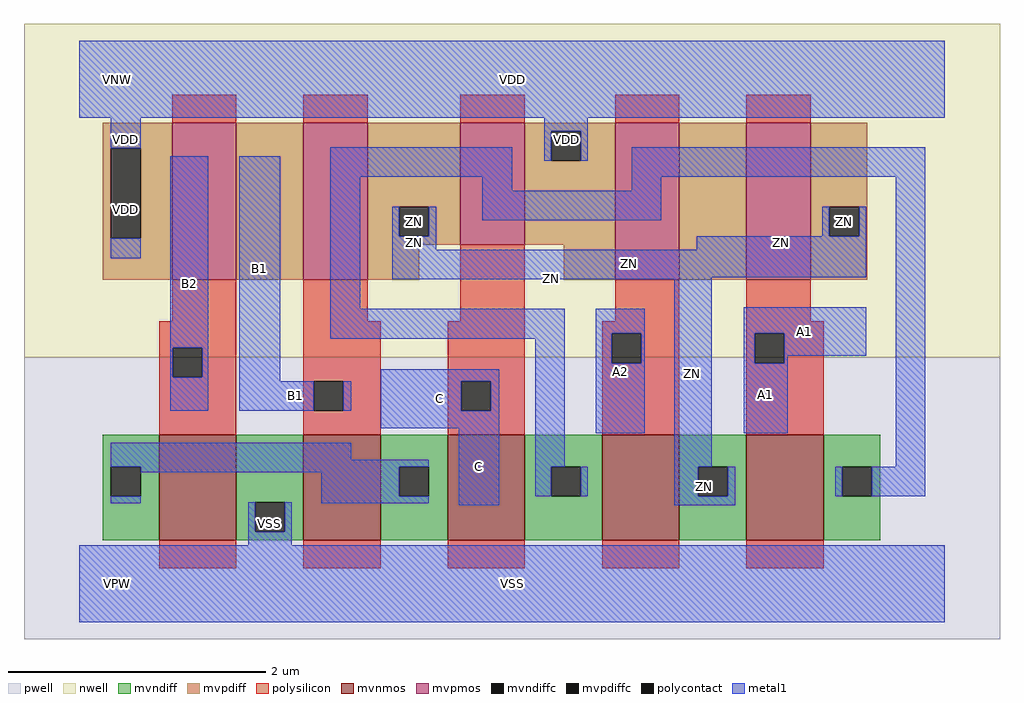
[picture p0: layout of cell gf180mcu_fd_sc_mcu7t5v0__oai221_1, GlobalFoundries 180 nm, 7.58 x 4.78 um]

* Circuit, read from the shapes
.subckt gf180mcu_fd_sc_mcu7t5v0__oai221_1 A1 A2 B1 B2 C ZN VDD VNW VPW VSS
XM1 VSS B2 n1 VPW nfet_06v0 w=0.82u l=0.6u
XM2 n1 B1 VSS VPW nfet_06v0 w=0.82u l=0.6u
XM3 n2 C n1 VPW nfet_06v0 w=0.82u l=0.6u
XM4 ZN A2 n2 VPW nfet_06v0 w=0.82u l=0.6u
XM5 n2 A1 ZN VPW nfet_06v0 w=0.82u l=0.6u
XM6 n3 B2 VDD VNW pfet_06v0 w=1.22u l=0.5u
XM7 ZN B1 n3 VNW pfet_06v0 w=1.22u l=0.5u
XM8 VDD C ZN VNW pfet_06v0 w=0.945u l=0.5u
XM9 n4 A2 VDD VNW pfet_06v0 w=1.22u l=0.5u
XM10 ZN A1 n4 VNW pfet_06v0 w=1.22u l=0.5u
.ends

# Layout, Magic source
magic
tech gf180mcuD
magscale 1 10
<< nwell >>
rect -86 352 1430 870
<< pwell >>
rect -86 -86 1430 352
<< mvnmos >>
rect 124 68 244 232
rect 348 68 468 232
rect 572 68 692 232
rect 812 68 932 232
rect 1036 68 1156 232
<< mvpmos >>
rect 144 472 244 716
rect 348 472 448 716
rect 592 527 692 716
rect 832 472 932 716
rect 1036 472 1136 716
<< mvndiff >>
rect 36 182 124 232
rect 36 136 49 182
rect 95 136 124 182
rect 36 68 124 136
rect 244 127 348 232
rect 244 81 273 127
rect 319 81 348 127
rect 244 68 348 81
rect 468 182 572 232
rect 468 136 497 182
rect 543 136 572 182
rect 468 68 572 136
rect 692 182 812 232
rect 692 136 733 182
rect 779 136 812 182
rect 692 68 812 136
rect 932 182 1036 232
rect 932 136 961 182
rect 1007 136 1036 182
rect 932 68 1036 136
rect 1156 182 1244 232
rect 1156 136 1185 182
rect 1231 136 1244 182
rect 1156 68 1244 136
<< mvpdiff >>
rect 36 677 144 716
rect 36 537 49 677
rect 95 537 144 677
rect 36 472 144 537
rect 244 472 348 716
rect 448 586 592 716
rect 448 540 497 586
rect 543 540 592 586
rect 448 527 592 540
rect 692 703 832 716
rect 692 657 733 703
rect 779 657 832 703
rect 692 527 832 657
rect 448 472 528 527
rect 752 472 832 527
rect 932 472 1036 716
rect 1136 586 1224 716
rect 1136 540 1165 586
rect 1211 540 1224 586
rect 1136 472 1224 540
<< mvndiffc >>
rect 49 136 95 182
rect 273 81 319 127
rect 497 136 543 182
rect 733 136 779 182
rect 961 136 1007 182
rect 1185 136 1231 182
<< mvpdiffc >>
rect 49 537 95 677
rect 497 540 543 586
rect 733 657 779 703
rect 1165 540 1211 586
<< polysilicon >>
rect 144 716 244 760
rect 348 716 448 760
rect 592 716 692 760
rect 832 716 932 760
rect 1036 716 1136 760
rect 144 408 244 472
rect 124 367 244 408
rect 124 321 145 367
rect 191 321 244 367
rect 124 232 244 321
rect 348 408 448 472
rect 592 408 692 527
rect 832 408 932 472
rect 348 315 468 408
rect 348 269 364 315
rect 410 269 468 315
rect 348 232 468 269
rect 572 315 692 408
rect 572 269 593 315
rect 639 269 692 315
rect 572 232 692 269
rect 812 389 932 408
rect 812 343 827 389
rect 873 343 932 389
rect 812 232 932 343
rect 1036 408 1136 472
rect 1036 389 1156 408
rect 1036 343 1049 389
rect 1095 343 1156 389
rect 1036 232 1156 343
rect 124 24 244 68
rect 348 24 468 68
rect 572 24 692 68
rect 812 24 932 68
rect 1036 24 1156 68
<< polycontact >>
rect 145 321 191 367
rect 364 269 410 315
rect 593 269 639 315
rect 827 343 873 389
rect 1049 343 1095 389
<< metal1 >>
rect 0 724 1344 844
rect 49 677 95 724
rect 722 703 790 724
rect 49 506 95 537
rect 141 367 200 664
rect 141 321 145 367
rect 191 321 200 367
rect 141 269 200 321
rect 248 315 312 664
rect 390 632 672 678
rect 722 657 733 703
rect 779 657 790 703
rect 390 427 436 632
rect 626 611 672 632
rect 858 632 1314 678
rect 858 611 904 632
rect 486 540 497 586
rect 543 540 554 586
rect 626 565 904 611
rect 1154 540 1165 586
rect 1211 540 1222 586
rect 486 519 554 540
rect 959 519 1222 540
rect 486 476 1222 519
rect 486 473 982 476
rect 390 381 754 427
rect 468 315 652 333
rect 248 269 364 315
rect 410 269 422 315
rect 468 269 593 315
rect 639 269 652 315
rect 468 242 652 269
rect 49 193 422 219
rect 49 182 543 193
rect 95 173 497 182
rect 49 125 95 136
rect 376 136 497 173
rect 262 81 273 127
rect 319 81 330 127
rect 376 125 543 136
rect 589 122 652 242
rect 708 182 754 381
rect 802 389 878 427
rect 802 343 827 389
rect 873 343 878 389
rect 802 234 878 343
rect 924 182 982 473
rect 1032 389 1222 430
rect 1032 343 1049 389
rect 1095 354 1222 389
rect 1095 343 1100 354
rect 1032 234 1100 343
rect 1268 182 1314 632
rect 708 136 733 182
rect 779 136 790 182
rect 924 136 961 182
rect 1007 136 1019 182
rect 1174 136 1185 182
rect 1231 136 1314 182
rect 924 122 1019 136
rect 262 60 330 81
rect 0 -60 1344 60
<< labels >>
flabel metal1 s 248 315 312 664 0 FreeSans 400 0 0 0 B1
port 3 nsew default input
flabel metal1 s 468 242 652 333 0 FreeSans 400 0 0 0 C
port 5 nsew default input
flabel metal1 s 0 724 1344 844 0 FreeSans 400 0 0 0 VDD
port 7 nsew power bidirectional abutment
flabel metal1 s 262 60 330 127 0 FreeSans 400 0 0 0 VSS
port 10 nsew ground bidirectional abutment
flabel metal1 s 1154 540 1222 586 0 FreeSans 400 0 0 0 ZN
port 6 nsew default output
flabel metal1 s 1032 354 1222 430 0 FreeSans 400 0 0 0 A1
port 1 nsew default input
flabel metal1 s 802 234 878 427 0 FreeSans 400 0 0 0 A2
port 2 nsew default input
flabel metal1 s 141 269 200 664 0 FreeSans 400 0 0 0 B2
port 4 nsew default input
flabel nwell s 10 734 110 834 0 FreeSans 400 0 0 0 VNW
port 8 nsew power bidirectional
flabel pwell s 10 -50 110 50 0 FreeSans 400 0 0 0 VPW
port 9 nsew ground bidirectional
rlabel metal1 s 1032 234 1100 354 1 A1
port 1 nsew default input
rlabel metal1 s 248 269 422 315 1 B1
port 3 nsew default input
rlabel metal1 s 589 122 652 242 1 C
port 5 nsew default input
rlabel metal1 s 486 540 554 586 1 ZN
port 6 nsew default output
rlabel metal1 s 959 519 1222 540 1 ZN
port 6 nsew default output
rlabel metal1 s 486 519 554 540 1 ZN
port 6 nsew default output
rlabel metal1 s 486 476 1222 519 1 ZN
port 6 nsew default output
rlabel metal1 s 486 473 982 476 1 ZN
port 6 nsew default output
rlabel metal1 s 924 182 982 473 1 ZN
port 6 nsew default output
rlabel metal1 s 924 122 1019 182 1 ZN
port 6 nsew default output
rlabel metal1 s 722 657 790 724 1 VDD
port 7 nsew power bidirectional abutment
rlabel metal1 s 49 657 95 724 1 VDD
port 7 nsew power bidirectional abutment
rlabel metal1 s 49 506 95 657 1 VDD
port 7 nsew power bidirectional abutment
rlabel metal1 s 0 -60 1344 60 1 VSS
port 10 nsew ground bidirectional abutment
<< properties >>
string FIXED_BBOX 0 0 1344 784
string GDS_END 108820
string GDS_FILE $PDKPATH/libs.ref/gf180mcu_fd_sc_mcu7t5v0/gds/gf180mcu_fd_sc_mcu7t5v0.gds
string GDS_START 104744
string LEFclass core
string LEFsite GF018hv5v_mcu_sc7
string LEFsymmetry X Y
<< end >>
